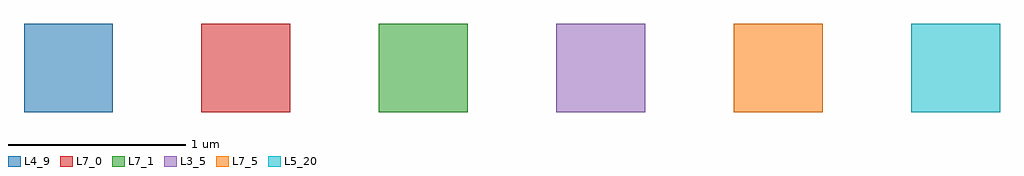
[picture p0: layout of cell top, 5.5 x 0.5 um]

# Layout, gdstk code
import gdstk
lib = gdstk.Library(unit=1e-6, precision=1e-09)
def R(c, l, rs):  # rectangles x0, y0, x1, y1
    for r in rs: c.add(gdstk.rectangle(r[:2], r[2:], *l))
L3_5 = (3, 5)
L4_9 = (4, 9)
L5_20 = (5, 20)
L7_0 = (7, 0)
L7_1 = (7, 1)
L7_5 = (7, 5)

top = lib.new_cell('top')
R(top, L3_5, [(3,0,3.5,0.5)])
R(top, L4_9, [(0,0,0.5,0.5)])
R(top, L5_20, [(5,0,5.5,0.5)])
R(top, L7_0, [(1,0,1.5,0.5)])
R(top, L7_1, [(2,0,2.5,0.5)])
R(top, L7_5, [(4,0,4.5,0.5)])

lib.write_gds('top.gds')
